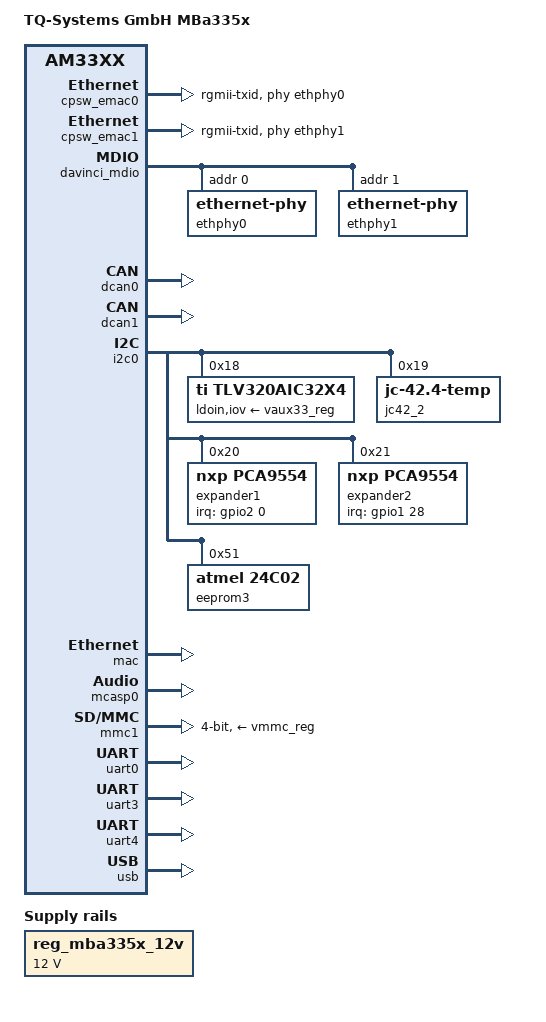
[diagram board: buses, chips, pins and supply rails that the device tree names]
// SPDX-License-Identifier: GPL-2.0-or-later OR MIT
/*
 * Copyright (C) 2021 - 2022 TQ-Systems GmbH - https://www.tq-group.com/
 *
 * Based on:
 * Copyright (C) 2012 Texas Instruments Incorporated - http://www.ti.com/
 *
 * This program is free software; you can redistribute it and/or modify
 * it under the terms of the GNU General Public License version 2 as
 * published by the Free Software Foundation.
 */
#include "am335x-tqma335x.dtsi"
#include <dt-bindings/interrupt-controller/irq.h>

/ {
	model = "TQ-Systems GmbH MBa335x";
	compatible = "tq,mba335x", "tq,tqma335x", "ti,am33xx";

	chosen {
		stdout-path = &uart4;
	};

	sound {
		compatible = "simple-audio-card";
		simple-audio-card,name = "TQ MBa335x";
		simple-audio-card,widgets =
			"Headphone", "Headphone Jack",
			"Line", "Line In",
			"Line", "Line Out",
			"Microphone", "Mic Jack";
		simple-audio-card,routing =
			"Headphone Jack",	"HPL",
			"Headphone Jack",	"HPR",
			"Line Out",		"LOL",
			"Line Out",		"LOR",
			"Mic Jack",		"IN3_L",
			"Line In",		"IN1_L",
			"Line In",		"IN1_R";
		simple-audio-card,format = "i2s";
		simple-audio-card,bitclock-master = <&sound_master>;
		simple-audio-card,frame-master = <&sound_master>;

		simple-audio-card,cpu {
			sound-dai = <&mcasp0>;
			#sound-dai-cells= <0>;
			system-clock-direction-out;
		};

		sound_master: simple-audio-card,codec {
			sound-dai = <&tlv320aic32x4>;
			system-clock-frequency = <24000000>;
			system-clock-direction-out;
		};
	};

	reg_mba335x_12v: fixedregulator-12v {
		compatible = "regulator-fixed";
		regulator-name = "MBa335x-V12";
		regulator-min-microvolt = <12000000>;
		regulator-max-microvolt = <12000000>;
	};
};

&am33xx_pinmux {

	ecap2_pins: backlight_pins {
		pinctrl-single,pins = <
			0x19c (PIN_OUTPUT | MUX_MODE4)			/* mcasp0_ahclkr.ecap2_in_pwm2_out*/
		>;
	};

	lcd_pins: lcd_pins {
		pinctrl-single,pins = <
			0x20 (PIN_OUTPUT | MUX_MODE1)			/* gpmc_ad8.lcd_data16 */
			0x24 (PIN_OUTPUT | MUX_MODE1)			/* gpmc_ad9.lcd_data17 */
			0x28 (PIN_OUTPUT | MUX_MODE1)			/* gpmc_ad10.lcd_data18 */
			0x2c (PIN_OUTPUT | MUX_MODE1)			/* gpmc_ad11.lcd_data19 */
			0x30 (PIN_OUTPUT | MUX_MODE1)			/* gpmc_ad12.lcd_data20 */
			0x34 (PIN_OUTPUT | MUX_MODE1)			/* gpmc_ad13.lcd_data21 */
			0x38 (PIN_OUTPUT | MUX_MODE1)			/* gpmc_ad14.lcd_data22 */
			0x3c (PIN_OUTPUT | MUX_MODE1)			/* gpmc_ad15.lcd_data23 */
			0xa0 (PIN_OUTPUT | MUX_MODE0)			/* lcd_data0.lcd_data0 */
			0xa4 (PIN_OUTPUT | MUX_MODE0)			/* lcd_data1.lcd_data1 */
			0xa8 (PIN_OUTPUT | MUX_MODE0)			/* lcd_data2.lcd_data2 */
			0xac (PIN_OUTPUT | MUX_MODE0)			/* lcd_data3.lcd_data3 */
			0xb0 (PIN_OUTPUT | MUX_MODE0)			/* lcd_data4.lcd_data4 */
			0xb4 (PIN_OUTPUT | MUX_MODE0)			/* lcd_data5.lcd_data5 */
			0xb8 (PIN_OUTPUT | MUX_MODE0)			/* lcd_data6.lcd_data6 */
			0xbc (PIN_OUTPUT | MUX_MODE0)			/* lcd_data7.lcd_data7 */
			0xc0 (PIN_OUTPUT | MUX_MODE0)			/* lcd_data8.lcd_data8 */
			0xc4 (PIN_OUTPUT | MUX_MODE0)			/* lcd_data9.lcd_data9 */
			0xc8 (PIN_OUTPUT | MUX_MODE0)			/* lcd_data10.lcd_data10 */
			0xcc (PIN_OUTPUT | MUX_MODE0)			/* lcd_data11.lcd_data11 */
			0xd0 (PIN_OUTPUT | MUX_MODE0)			/* lcd_data12.lcd_data12 */
			0xd4 (PIN_OUTPUT | MUX_MODE0)			/* lcd_data13.lcd_data13 */
			0xd8 (PIN_OUTPUT | MUX_MODE0)			/* lcd_data14.lcd_data14 */
			0xdc (PIN_OUTPUT | MUX_MODE0)			/* lcd_data15.lcd_data15 */
			0xe0 (PIN_OUTPUT | MUX_MODE0)			/* lcd_vsync.lcd_vsync */
			0xe4 (PIN_OUTPUT | MUX_MODE0)			/* lcd_hsync.lcd_hsync */
			0xe8 (PIN_OUTPUT | MUX_MODE0)			/* lcd_pclk.lcd_pclk */
			0xec (PIN_OUTPUT | MUX_MODE0)			/* lcd_ac_bias_en.lcd_ac_bias_en */
		>;
	};

	i2c1_pins: i2c1_pins {
		pinctrl-single,pins = <
			0x184 (PIN_INPUT_PULLUP | MUX_MODE3)		/* uart1_txd.i2c1_scl */
			0x180 (PIN_INPUT_PULLUP | MUX_MODE3)		/* uart1_rxd.i2c1_sda */
		>;
	};

	polytouch_pins: pinmux_polytouch_pins {
		pinctrl-single,pins = <
			/* Interrupt */
			0x08c (PIN_INPUT_PULLUP | MUX_MODE7)		/* gpmc_clk.gpio2_1 */
		>;
	};

	codec_pins: codec_pins {
		pinctrl-single,pins = <
			0x1b0 (PIN_OUTPUT | MUX_MODE3)			/* xdma_event_intr0.clkout1 */
		>;
	};

	cpsw_default: cpsw_default {
		pinctrl-single,pins = <
			/* Slave 1 */
			0x114 (PIN_OUTPUT_PULLDOWN | MUX_MODE2)		/* mii1_txen.rgmii1_tctl */
			0x118 (PIN_INPUT_PULLDOWN | MUX_MODE2)		/* mii1_rxdv.rgmii1_rctl */
			0x11c (PIN_OUTPUT_PULLDOWN | MUX_MODE2)		/* mii1_txd3.rgmii1_td3 */
			0x120 (PIN_OUTPUT_PULLDOWN | MUX_MODE2)		/* mii1_txd2.rgmii1_td2 */
			0x124 (PIN_OUTPUT_PULLDOWN | MUX_MODE2)		/* mii1_txd1.rgmii1_td1 */
			0x128 (PIN_OUTPUT_PULLDOWN | MUX_MODE2)		/* mii1_txd0.rgmii1_td0 */
			0x12c (PIN_OUTPUT_PULLDOWN | MUX_MODE2)		/* mii1_txclk.rgmii1_tclk */
			0x130 (PIN_INPUT_PULLDOWN | MUX_MODE2)		/* mii1_rxclk.rgmii1_rclk */
			0x134 (PIN_INPUT_PULLDOWN | MUX_MODE2)		/* mii1_rxd3.rgmii1_rd3 */
			0x138 (PIN_INPUT_PULLDOWN | MUX_MODE2)		/* mii1_rxd2.rgmii1_rd2 */
			0x13c (PIN_INPUT_PULLDOWN | MUX_MODE2)		/* mii1_rxd1.rgmii1_rd1 */
			0x140 (PIN_INPUT_PULLDOWN | MUX_MODE2)		/* mii1_rxd0.rgmii1_rd0 */
			0x21c (PIN_INPUT | MUX_MODE7)			/* usb0_drvvbus.gpio0_18 */

			/* Slave 2 */
			0x40 (PIN_OUTPUT_PULLDOWN | MUX_MODE2)		/* gpmc_a0.rgmii2_tctl */
			0x44 (PIN_INPUT_PULLDOWN | MUX_MODE2)		/* gpmc_a1.rgmii2_rctl */
			0x48 (PIN_OUTPUT_PULLDOWN | MUX_MODE2)		/* gpmc_a2.rgmii2_td3 */
			0x4c (PIN_OUTPUT_PULLDOWN | MUX_MODE2)		/* gpmc_a3.rgmii2_td2 */
			0x50 (PIN_OUTPUT_PULLDOWN | MUX_MODE2)		/* gpmc_a4.rgmii2_td1 */
			0x54 (PIN_OUTPUT_PULLDOWN | MUX_MODE2)		/* gpmc_a5.rgmii2_td0 */
			0x58 (PIN_OUTPUT_PULLDOWN | MUX_MODE2)		/* gpmc_a6.rgmii2_tclk */
			0x5c (PIN_INPUT_PULLDOWN | MUX_MODE2)		/* gpmc_a7.rgmii2_rclk */
			0x60 (PIN_INPUT_PULLDOWN | MUX_MODE2)		/* gpmc_a8.rgmii2_rd3 */
			0x64 (PIN_INPUT_PULLDOWN | MUX_MODE2)		/* gpmc_a9.rgmii2_rd2 */
			0x68 (PIN_INPUT_PULLDOWN | MUX_MODE2)		/* gpmc_a10.rgmii2_rd1 */
			0x6c (PIN_INPUT_PULLDOWN | MUX_MODE2)		/* gpmc_a11.rgmii2_rd0 */
			0x7c (PIN_INPUT | MUX_MODE7)			/* gpmc_csn0.gpio1_29 */
		>;
	};

	davinci_mdio_default: davinci_mdio_default {
		pinctrl-single,pins = <
			/* MDIO */
			0x148 (PIN_INPUT_PULLUP | SLEWCTRL_FAST | MUX_MODE0)	/* mdio_data.mdio_data */
			0x14c (PIN_OUTPUT_PULLUP | MUX_MODE0)		/* mdio_clk.mdio_clk */
		>;
	};

	dcan0_default: dcan0_default_pins {
		pinctrl-single,pins = <
			0x178 (PIN_OUTPUT_PULLDOWN | MUX_MODE2)		/* uart1_ctsn.d_can0_tx */
			0x17c (PIN_INPUT_PULLUP | MUX_MODE2)		/* uart1_rtsn.d_can0_rx */
		>;
	};

	dcan1_default: dcan1_default_pins {
		pinctrl-single,pins = <
			0x168 (PIN_OUTPUT_PULLDOWN | MUX_MODE2)		/* uart0_ctsn.d_can1_tx */
			0x16c (PIN_INPUT_PULLUP | MUX_MODE2)		/* uart0_rtsn.d_can1_rx */
		>;
	};

	expander1_pins: pinmux_expander1_pins {
		pinctrl-single,pins = <
			/* Interrupt */
			0x88 (PIN_INPUT_PULLUP | MUX_MODE7 )		/* gpmc_csn3.gpio2_0 */
		>;
	};

	expander2_pins: pinmux_expander2_pins {
		pinctrl-single,pins = <
			/* Interrupt */
			0x78 (PIN_INPUT_PULLUP | MUX_MODE7)             /* gpmc_ben1.gpio1_28 */
		>;
	};

	mcasp0_pins: mcasp0_pins {
		pinctrl-single,pins = <
			0x194 (PIN_INPUT_PULLDOWN | MUX_MODE0)		/* mcasp0_fsx.mcasp0_fsx */
			0x190 (PIN_INPUT_PULLDOWN | MUX_MODE0)		/* mcasp0_aclkx.mcasp0_aclkx*/
			0x198 (PIN_INPUT_PULLDOWN | MUX_MODE0)		/* mcasp0_axr0.mcasp0_axr0 */
			0x1a8 (PIN_INPUT_PULLDOWN | MUX_MODE0)		/* mcasp0_axr1.mcasp0_axr1 */
			0x1a0 (PIN_INPUT_PULLDOWN | MUX_MODE0)		/* mcasp0_aclkr.mcasp0_aclkr*/
			0x1a4 (PIN_INPUT_PULLDOWN | MUX_MODE0)		/* mcasp0_fsr.mcasp0_fsr */
		>;
	};

	mmc1_pins: mmc1_pins {
		pinctrl-single,pins = <
			0x0f0 (PIN_INPUT_PULLUP | MUX_MODE0)		/* mmc0_dat3.mmc0_dat3 */
			0x0f4 (PIN_INPUT_PULLUP | MUX_MODE0)		/* mmc0_dat2.mmc0_dat2 */
			0x0f8 (PIN_INPUT_PULLUP | MUX_MODE0)		/* mmc0_dat1.mmc0_dat1 */
			0x0fc (PIN_INPUT_PULLUP | MUX_MODE0)		/* mmc0_dat0.mmc0_dat0 */
			0x100 (PIN_INPUT_PULLUP | MUX_MODE0)		/* mmc0_clk.mmc0_clk */
			0x104 (PIN_INPUT_PULLUP | MUX_MODE0)		/* mmc0_cmd.mmc0_cmd */
		>;
	};

	uart0_pins: pinmux_uart0_pins {
		pinctrl-single,pins = <
			0x170 (PIN_INPUT_PULLUP | MUX_MODE0)		/* uart0_rxd.uart0_rxd */
			0x174 (PIN_OUTPUT_PULLDOWN | MUX_MODE0)		/* uart0_txd.uart0_txd */
		>;
	};

	uart3_pins: pinmux_uart3_pins {
		pinctrl-single,pins = <
			0x160 (PIN_INPUT_PULLUP | MUX_MODE1)		/* spi0_cs1.uart3_rxd */
			0x164 (PIN_OUTPUT_PULLDOWN | MUX_MODE1)		/* ecap0_in_pwm0_out.uart3_txd */
		>;
	};

	uart4_pins: pinmux_uart4_pins {
		pinctrl-single,pins = <
			0x70 (PIN_INPUT_PULLUP | MUX_MODE6)		/* gpmc_wait0.uart4_rxd */
			0x74 (PIN_OUTPUT_PULLDOWN | MUX_MODE6)		/* gpmc_wpn.uart4_txd */
		>;
	};
};

&cpsw_emac0 {
	phy-handle = <&ethphy0>;
	phy-mode = "rgmii-txid";

	interrupt-parent = <&gpio0>;
	interrupts = <18 0>;
};

&cpsw_emac1 {
	phy-handle = <&ethphy1>;
	phy-mode = "rgmii-txid";

	interrupt-parent = <&gpio1>;
	interrupts = <29 0>;
};

&davinci_mdio {
	pinctrl-names = "default";
	pinctrl-0 = <&davinci_mdio_default>;
	status = "okay";

	ethphy0: ethernet-phy@0 {
		reg = <0>;

		rxdv-skew-ps = <0>;
		txen-skew-ps = <0>;
		rxd0-skew-ps = <0>;
		rxd1-skew-ps = <0>;
		rxd2-skew-ps = <0>;
		rxd3-skew-ps = <0>;
		txd0-skew-ps = <0>;
		txd1-skew-ps = <0>;
		txd2-skew-ps = <0>;
		txd3-skew-ps = <0>;
		rxc-skew-ps = <1860>;
		txc-skew-ps = <1860>;
	};

	ethphy1: ethernet-phy@1 {
		reg = <1>;

		rxdv-skew-ps = <0>;
		txen-skew-ps = <0>;
		rxd0-skew-ps = <0>;
		rxd1-skew-ps = <0>;
		rxd2-skew-ps = <0>;
		rxd3-skew-ps = <0>;
		txd0-skew-ps = <0>;
		txd1-skew-ps = <0>;
		txd2-skew-ps = <0>;
		txd3-skew-ps = <0>;
		rxc-skew-ps = <1860>;
		txc-skew-ps = <1860>;
	};
};

&dcan0 {
	pinctrl-names = "default";
	pinctrl-0 = <&dcan0_default>;
	status = "okay";
};

&dcan1 {
	pinctrl-names = "default";
	pinctrl-0 = <&dcan1_default>;
	status = "okay";
};

&i2c0 {
	tlv320aic32x4: audio-codec@18 {
		compatible = "ti,tlv320aic32x4";
		reg = <0x18>;
		pinctrl-names = "default";
		pinctrl-0 = <&codec_pins>;
		clocks = <&clk_24mhz>;
		clock-names = "mclk";
		status = "okay";
		#sound-dai-cells= <0>;

		ldo-enable = "on";
		ldoin-supply = <&vaux33_reg>;
		iov-supply = <&vaux33_reg>;
	};

	jc42_2: temp-sensor@19 {
		compatible = "jedec,jc-42.4-temp";
		reg = <0x19>;
	};

	expander1: gpio-expander@20 {
		compatible = "nxp,pca9554";
		reg = <0x20>;
		pinctrl-names = "default";
		pinctrl-0 = <&expander1_pins>;
		gpio-controller;
		#gpio-cells = <2>;
		interrupt-parent = <&gpio2>;
		interrupts = <0 IRQ_TYPE_EDGE_FALLING>;
	};

	expander2: gpio-expander@21 {
		compatible = "nxp,pca9554";
		reg = <0x21>;
		pinctrl-names = "default";
		pinctrl-0 = <&expander2_pins>;
		gpio-controller;
		#gpio-cells = <2>;
		interrupt-controller;
		#interrupt-cells = <2>;
		interrupt-parent = <&gpio1>;
		interrupts = <28 IRQ_TYPE_EDGE_FALLING>;
	};

	eeprom3: eeprom@51 {
		compatible = "atmel,24c02";
		pagesize = <16>;
		reg = <0x51>;
	};
};

&mac {
	pinctrl-names = "default";
	pinctrl-0 = <&cpsw_default>;
	dual_emac;
	status = "okay";
};

&mcasp0 {
	pinctrl-names = "default";
	pinctrl-0 = <&mcasp0_pins>;
	status = "okay";
	#sound-dai-cells= <0>;

	op-mode = <0>;

	tdm-slots = <2>;
	/* 16 serializer */
	serial-dir = <  /* 0: INACTIVE, 1: TX, 2: RX */
		2 1 0 0
		0 0 0 0
		0 0 0 0
		0 0 0 0
	>;
	tx-num-evt = <32>;
	rx-num-evt = <32>;
};

&mmc1 {
	pinctrl-names = "default";
	pinctrl-0 = <&mmc1_pins>;
	status = "okay";
	vmmc-supply = <&vmmc_reg>;
	bus-width = <4>;
	no-mmc;
	no-sdio;
};

&uart0 {
	pinctrl-names = "default";
	pinctrl-0 = <&uart0_pins>;
	status = "okay";
};

&uart3 {
	pinctrl-names = "default";
	pinctrl-0 = <&uart3_pins>;
	status = "okay";
};

&uart4 {
	pinctrl-names = "default";
	pinctrl-0 = <&uart4_pins>;
	status = "okay";
};

&usb {
	status = "okay";

	control@44e10620 {
		status = "okay";
	};

	usb-phy@47401300 {
		status = "okay";
	};

	usb-phy@47401b00 {
		status = "okay";
	};

	usb@47401000 {
		status = "okay";
		dr_mode = "host";
	};

	usb@47401800 {
		status = "okay";
		dr_mode = "peripheral";
	};

	dma-controller@47402000  {
		status = "okay";
	};
};
